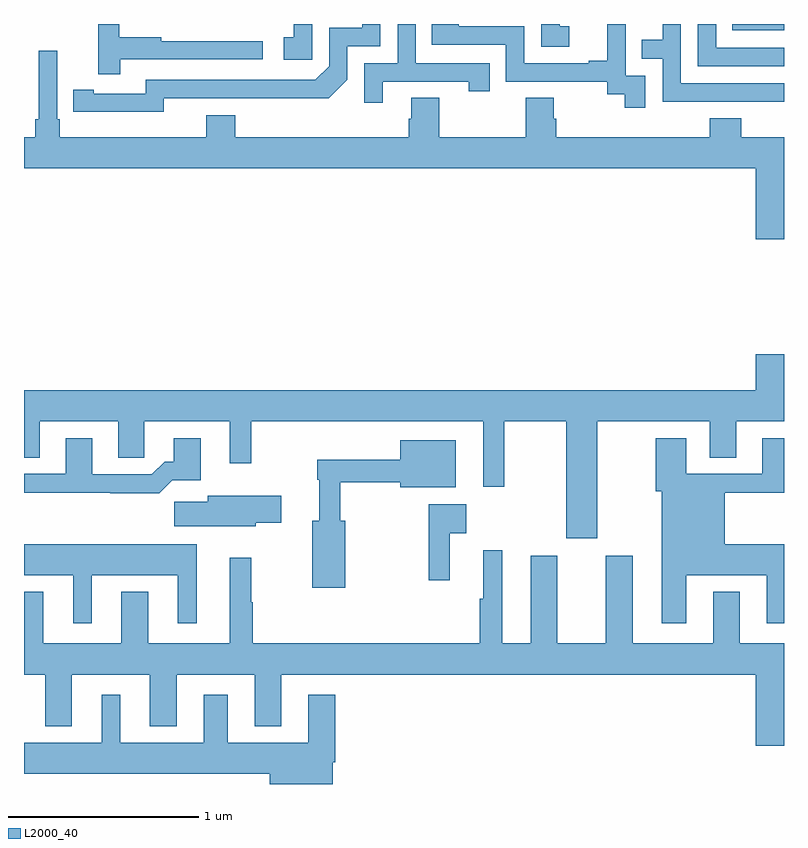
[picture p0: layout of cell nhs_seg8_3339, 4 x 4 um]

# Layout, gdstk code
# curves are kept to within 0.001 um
import gdstk
lib = gdstk.Library(unit=1e-6, precision=1e-09)
def R(c, l, rs):  # rectangles x0, y0, x1, y1
    for r in rs: c.add(gdstk.rectangle(r[:2], r[2:], *l))
def P(c, l, *ps):  # polygons
    for p in ps: c.add(gdstk.Polygon(p, *l))
L2000_40 = (2000, 40)

nhs_seg8_3339 = lib.new_cell('nhs_seg8_3339')
R(nhs_seg8_3339, L2000_40, [(320.728,1143.866,321,1143.9), (317.811,1143.899,318.238,1143.9)])
P(nhs_seg8_3339, L2000_40, [(317.507,1143.714),(318.256,1143.714),(318.256,1143.81),(317.723,1143.81),(317.723,1143.83),(317.5,1143.83),(317.5,1143.9),(317.39,1143.9),(317.39,1143.636),(317.507,1143.636)],
  [(318.516,1143.9),(318.419,1143.9),(318.419,1143.831),(318.366,1143.831),(318.366,1143.711),(318.516,1143.711)],
  [(319.87,1143.889),(319.821,1143.889),(319.821,1143.9),(319.722,1143.9),(319.722,1143.78),(319.87,1143.78)],
  [(318.889,1143.597),(319.34,1143.597),(319.34,1143.546),(319.451,1143.546),(319.451,1143.693),(319.062,1143.693),(319.062,1143.9),(318.966,1143.9),(318.966,1143.693),(318.792,1143.693),(318.792,1143.486),(318.889,1143.486)],
  [(320.271,1143.627),(320.166,1143.627),(320.166,1143.857),(320.168,1143.857),(320.168,1143.9),(320.069,1143.9),(320.069,1143.706),(319.973,1143.706),(319.973,1143.693),(319.632,1143.693),(319.632,1143.888),(319.287,1143.888),(319.287,1143.9),(319.147,1143.9),(319.147,1143.792),(319.536,1143.792),(319.536,1143.597),(320.07,1143.597),(320.07,1143.529),(320.163,1143.529),(320.163,1143.459),(320.271,1143.459)],
  [(321,1143.588),(320.457,1143.588),(320.457,1143.9),(320.361,1143.9),(320.361,1143.818),(320.251,1143.818),(320.251,1143.717),(320.361,1143.717),(320.361,1143.492),(320.857,1143.492),(320.857,1143.491),(321,1143.491)],
  [(317.736,1143.51),(318.604,1143.509),(318.702,1143.606),(318.702,1143.783),(318.876,1143.783),(318.876,1143.9),(318.779,1143.9),(318.779,1143.879),(318.606,1143.879),(318.606,1143.678),(318.534,1143.606),(317.64,1143.606),(317.64,1143.534),(317.368,1143.534),(317.368,1143.554),(317.26,1143.554),(317.26,1143.438),(317.736,1143.437)],
  [(321,1143.774),(320.643,1143.774),(320.643,1143.9),(320.547,1143.9),(320.547,1143.678),(321,1143.678)],
  [(321,1143.304),(320.774,1143.304),(320.774,1143.403),(320.609,1143.403),(320.609,1143.304),(319.802,1143.304),(319.802,1143.402),(319.789,1143.402),(319.789,1143.512),(319.642,1143.512),(319.642,1143.304),(319.185,1143.304),(319.185,1143.512),(319.037,1143.512),(319.037,1143.402),(319.025,1143.402),(319.025,1143.304),(318.113,1143.304),(318.113,1143.421),(317.96,1143.421),(317.96,1143.304),(317.189,1143.304),(317.189,1143.4),(317.175,1143.4),(317.175,1143.76),(317.078,1143.76),(317.078,1143.4),(317.059,1143.4),(317.059,1143.304),(317,1143.304),(317,1143.14),(320.852,1143.14),(320.852,1142.766),(321,1142.766)],
  [(320.017,1141.808),(320.609,1141.808),(320.609,1141.618),(320.749,1141.618),(320.749,1141.808),(321,1141.808),(321,1142.161),(320.852,1142.161),(320.852,1141.972),(317,1141.972),(317,1141.618),(317.083,1141.618),(317.083,1141.808),(317.495,1141.808),(317.495,1141.618),(317.634,1141.618),(317.634,1141.808),(318.083,1141.808),(318.083,1141.587),(318.197,1141.587),(318.197,1141.808),(319.418,1141.808),(319.418,1141.464),(319.528,1141.464),(319.528,1141.808),(319.853,1141.808),(319.853,1141.194),(320.017,1141.194)],
  [(317.78,1141.499),(317.929,1141.499),(317.929,1141.72),(317.789,1141.72),(317.789,1141.597),(317.74,1141.597),(317.673,1141.53),(317.359,1141.53),(317.359,1141.72),(317.219,1141.72),(317.219,1141.533),(317,1141.533),(317,1141.432),(317.455,1141.432),(317.455,1141.43),(317.711,1141.43)],
  [(320.485,1140.998),(320.909,1140.998),(320.909,1140.747),(321,1140.747),(321,1141.162),(320.689,1141.162),(320.689,1141.432),(321,1141.432),(321,1141.72),(320.885,1141.72),(320.885,1141.533),(320.485,1141.533),(320.485,1141.72),(320.326,1141.72),(320.326,1141.44),(320.357,1141.44),(320.357,1140.747),(320.485,1140.747)],
  [(318.69,1141.285),(318.664,1141.285),(318.664,1141.489),(318.98,1141.489),(318.98,1141.463),(319.273,1141.463),(319.273,1141.708),(318.98,1141.708),(318.98,1141.607),(318.543,1141.607),(318.543,1141.502),(318.554,1141.502),(318.554,1141.285),(318.517,1141.285),(318.517,1140.933),(318.69,1140.933)],
  [(318.22,1141.274),(318.355,1141.274),(318.355,1141.417),(317.966,1141.417),(317.966,1141.385),(317.79,1141.385),(317.79,1141.256),(318.22,1141.256)],
  [(319.241,1141.22),(319.327,1141.22),(319.327,1141.372),(319.131,1141.372),(319.131,1140.972),(319.241,1140.972)],
  [(317.356,1140.998),(317.81,1140.998),(317.81,1140.747),(317.908,1140.747),(317.908,1141.162),(317,1141.162),(317,1140.998),(317.258,1140.998),(317.258,1140.747),(317.356,1140.747)],
  [(320.852,1140.102),(321,1140.102),(321,1140.64),(320.767,1140.64),(320.767,1140.913),(320.627,1140.913),(320.627,1140.64),(320.203,1140.64),(320.203,1141.102),(320.063,1141.102),(320.063,1140.64),(319.807,1140.64),(319.807,1141.102),(319.667,1141.102),(319.667,1140.64),(319.516,1140.64),(319.516,1141.129),(319.418,1141.129),(319.418,1140.876),(319.399,1140.876),(319.399,1140.64),(318.205,1140.64),(318.205,1140.857),(318.197,1140.857),(318.197,1141.09),(318.083,1141.09),(318.083,1140.64),(317.653,1140.64),(317.653,1140.913),(317.513,1140.913),(317.513,1140.64),(317.101,1140.64),(317.101,1140.913),(317,1140.913),(317,1140.476),(317.111,1140.476),(317.111,1140.203),(317.251,1140.203),(317.251,1140.476),(317.663,1140.476),(317.663,1140.203),(317.803,1140.203),(317.803,1140.476),(318.215,1140.476),(318.215,1140.203),(318.355,1140.203),(318.355,1140.476),(320.852,1140.476)],
  [(318.625,1140.014),(318.638,1140.014),(318.638,1140.37),(318.497,1140.37),(318.497,1140.118),(318.073,1140.118),(318.073,1140.37),(317.945,1140.37),(317.945,1140.118),(317.506,1140.118),(317.506,1140.37),(317.408,1140.37),(317.408,1140.118),(317,1140.118),(317,1139.954),(318.293,1139.954),(318.293,1139.9),(318.625,1139.9)])

lib.write_gds('nhs_seg8_3339.gds')
